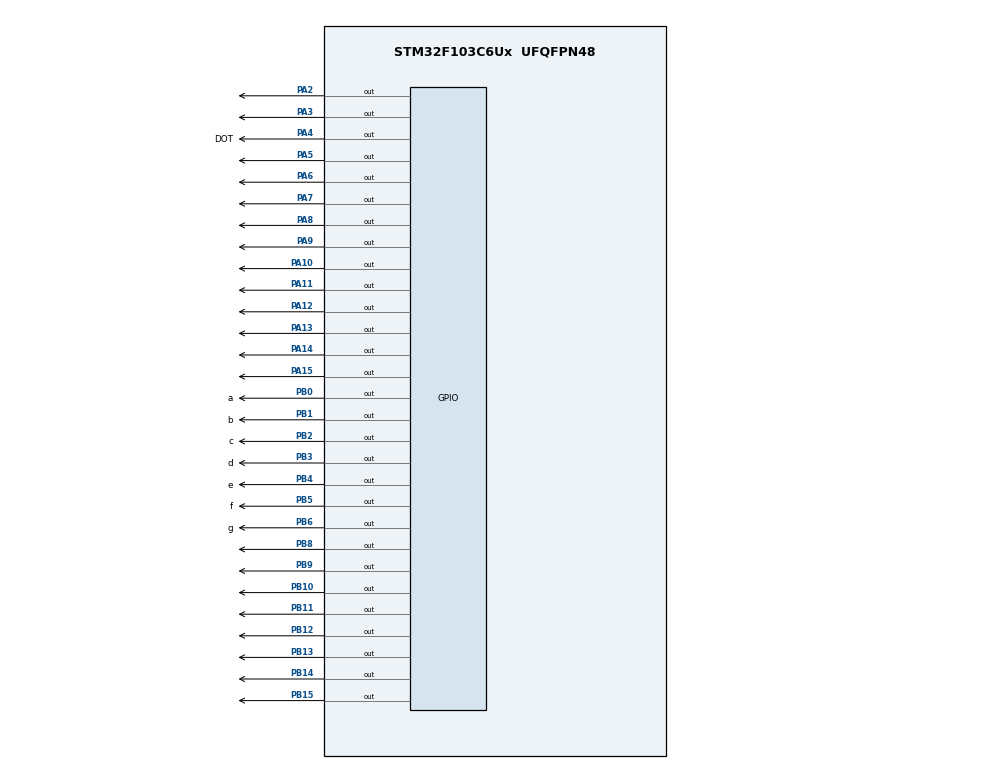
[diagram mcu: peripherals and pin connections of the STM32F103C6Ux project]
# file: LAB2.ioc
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Mcu.Family=STM32F1
Mcu.Name=STM32F103C6Ux
Mcu.Package=UFQFPN48
NVIC.PriorityGroup=NVIC_PRIORITYGROUP_4
NVIC.TIM2_IRQn=true\:0\:0\:false\:false\:true\:true\:true
PA10.Signal=GPIO_Output
PA11.Signal=GPIO_Output
PA12.Signal=GPIO_Output
PA13.Signal=GPIO_Output
PA14.Signal=GPIO_Output
PA15.Signal=GPIO_Output
PA2.Signal=GPIO_Output
PA3.Signal=GPIO_Output
PA4.GPIO_Label=DOT
PA4.Signal=GPIO_Output
PA5.Signal=GPIO_Output
PA6.Signal=GPIO_Output
PA7.Signal=GPIO_Output
PA8.Signal=GPIO_Output
PA9.Signal=GPIO_Output
PB0.GPIO_Label=a
PB0.Signal=GPIO_Output
PB1.GPIO_Label=b
PB1.Signal=GPIO_Output
PB10.Signal=GPIO_Output
PB11.Signal=GPIO_Output
PB12.Signal=GPIO_Output
PB13.Signal=GPIO_Output
PB14.Signal=GPIO_Output
PB15.Signal=GPIO_Output
PB2.GPIO_Label=c
PB2.Signal=GPIO_Output
PB3.GPIO_Label=d
PB3.Signal=GPIO_Output
PB4.GPIO_Label=e
PB4.Signal=GPIO_Output
PB5.GPIO_Label=f
PB5.Signal=GPIO_Output
PB6.GPIO_Label=g
PB6.Signal=GPIO_Output
PB8.Signal=GPIO_Output
PB9.Signal=GPIO_Output
ProjectManager.HeapSize=0x200
ProjectManager.StackSize=0x400
ProjectManager.TargetToolchain=STM32CubeIDE
RCC.APB1Freq_Value=8000000
RCC.APB2Freq_Value=8000000
TIM2.Period=9
TIM2.Prescaler=7999
VP_SYS_VS_ND.Mode=No_Debug
VP_TIM2_VS_ClockSourceINT.Mode=Internal
board=custom

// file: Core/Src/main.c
/* USER CODE BEGIN Header */
/**
  ******************************************************************************
  * @file           : main.c
  * @brief          : Main program body
  ******************************************************************************
  * @attention
  *
  * <h2><center>&copy; Copyright (c) 2023 STMicroelectronics.
  * All rights reserved.</center></h2>
  *
  * This software component is licensed by ST under BSD 3-Clause license,
  * the "License"; You may not use this file except in compliance with the
  * License. You may obtain a copy of the License at:
  *                        opensource.org/licenses/BSD-3-Clause
  *
  ******************************************************************************
  */
/* USER CODE END Header */
#include "main.h"

/* USER CODE BEGIN Includes */
#include "software_timer.h"
/* USER CODE END Includes */

TIM_HandleTypeDef htim2;

void SystemClock_Config(void);
static void MX_TIM2_Init(void);
static void MX_GPIO_Init(void);
/* USER CODE BEGIN PFP */
void display7SEG(int num){
	switch (num){
		case 0:
			HAL_GPIO_WritePin(GPIOB, a_Pin, 0);
			HAL_GPIO_WritePin(GPIOB, b_Pin, 0);
			HAL_GPIO_WritePin(GPIOB, c_Pin, 0);
			HAL_GPIO_WritePin(GPIOB, d_Pin, 0);
			HAL_GPIO_WritePin(GPIOB, e_Pin, 0);
			HAL_GPIO_WritePin(GPIOB, f_Pin, 0);
			HAL_GPIO_WritePin(GPIOB, g_Pin, 1);
			break;
		case 1:
			HAL_GPIO_WritePin(GPIOB, a_Pin, 1);
			HAL_GPIO_WritePin(GPIOB, b_Pin, 0);
			HAL_GPIO_WritePin(GPIOB, c_Pin, 0);
			HAL_GPIO_WritePin(GPIOB, d_Pin, 1);
			HAL_GPIO_WritePin(GPIOB, e_Pin, 1);
			HAL_GPIO_WritePin(GPIOB, f_Pin, 1);
			HAL_GPIO_WritePin(GPIOB, g_Pin, 1);
			break;
		case 2:
			HAL_GPIO_WritePin(GPIOB, a_Pin, 0);
			HAL_GPIO_WritePin(GPIOB, b_Pin, 0);
			HAL_GPIO_WritePin(GPIOB, c_Pin, 1);
			HAL_GPIO_WritePin(GPIOB, d_Pin, 0);
			HAL_GPIO_WritePin(GPIOB, e_Pin, 0);
			HAL_GPIO_WritePin(GPIOB, f_Pin, 1);
			HAL_GPIO_WritePin(GPIOB, g_Pin, 0);
			break;
		case 3:
			HAL_GPIO_WritePin(GPIOB, a_Pin, 0);
			HAL_GPIO_WritePin(GPIOB, b_Pin, 0);
			HAL_GPIO_WritePin(GPIOB, c_Pin, 0);
			HAL_GPIO_WritePin(GPIOB, d_Pin, 0);
			HAL_GPIO_WritePin(GPIOB, e_Pin, 1);
			HAL_GPIO_WritePin(GPIOB, f_Pin, 1);
			HAL_GPIO_WritePin(GPIOB, g_Pin, 0);
			break;
		case 4:
			HAL_GPIO_WritePin(GPIOB, a_Pin, 1);
			HAL_GPIO_WritePin(GPIOB, b_Pin, 0);
			HAL_GPIO_WritePin(GPIOB, c_Pin, 0);
			HAL_GPIO_WritePin(GPIOB, d_Pin, 1);
			HAL_GPIO_WritePin(GPIOB, e_Pin, 1);
			HAL_GPIO_WritePin(GPIOB, f_Pin, 0);
			HAL_GPIO_WritePin(GPIOB, g_Pin, 0);
			break;
		case 5:
			HAL_GPIO_WritePin(GPIOB, a_Pin, 0);
			HAL_GPIO_WritePin(GPIOB, b_Pin, 1);
			HAL_GPIO_WritePin(GPIOB, c_Pin, 0);
			HAL_GPIO_WritePin(GPIOB, d_Pin, 0);
			HAL_GPIO_WritePin(GPIOB, e_Pin, 1);
			HAL_GPIO_WritePin(GPIOB, f_Pin, 0);
			HAL_GPIO_WritePin(GPIOB, g_Pin, 0);
			break;
		case 6:
			HAL_GPIO_WritePin(GPIOB, a_Pin, 0);
			HAL_GPIO_WritePin(GPIOB, b_Pin, 1);
			HAL_GPIO_WritePin(GPIOB, c_Pin, 0);
			HAL_GPIO_WritePin(GPIOB, d_Pin, 0);
			HAL_GPIO_WritePin(GPIOB, e_Pin, 0);
			HAL_GPIO_WritePin(GPIOB, f_Pin, 0);
			HAL_GPIO_WritePin(GPIOB, g_Pin, 0);
			break;
		case 7:
			HAL_GPIO_WritePin(GPIOB, a_Pin, 0);
			HAL_GPIO_WritePin(GPIOB, b_Pin, 0);
			HAL_GPIO_WritePin(GPIOB, c_Pin, 0);
			HAL_GPIO_WritePin(GPIOB, d_Pin, 1);
			HAL_GPIO_WritePin(GPIOB, e_Pin, 1);
			HAL_GPIO_WritePin(GPIOB, f_Pin, 1);
			HAL_GPIO_WritePin(GPIOB, g_Pin, 1);
			break;
		case 8:
			HAL_GPIO_WritePin(GPIOB, a_Pin, 0);
			HAL_GPIO_WritePin(GPIOB, b_Pin, 0);
			HAL_GPIO_WritePin(GPIOB, c_Pin, 0);
			HAL_GPIO_WritePin(GPIOB, d_Pin, 0);
			HAL_GPIO_WritePin(GPIOB, e_Pin, 0);
			HAL_GPIO_WritePin(GPIOB, f_Pin, 0);
			HAL_GPIO_WritePin(GPIOB, g_Pin, 0);
			break;
		default:
			HAL_GPIO_WritePin(GPIOB, a_Pin, 0);
			HAL_GPIO_WritePin(GPIOB, b_Pin, 0);
			HAL_GPIO_WritePin(GPIOB, c_Pin, 0);
			HAL_GPIO_WritePin(GPIOB, d_Pin, 0);
			HAL_GPIO_WritePin(GPIOB, e_Pin, 1);
			HAL_GPIO_WritePin(GPIOB, f_Pin, 0);
			HAL_GPIO_WritePin(GPIOB, g_Pin, 0);
	}
}

const int MAX_LED_MATRIX = 8;
uint8_t matrix_buffer[8]={0xFF,0x01,0x00,0xEE,0xEE,0x00,0x01,0xFF};
void updateLEDMatrix (int index ){
	switch ( index ){
	case 0:
		HAL_GPIO_WritePin(GPIOB, GPIO_PIN_15 , 0);
        HAL_GPIO_WritePin(GPIOB, GPIO_PIN_8 , 1);
        HAL_GPIO_WritePin(GPIOA, GPIO_PIN_2, (matrix_buffer[0] & 0x01)? GPIO_PIN_RESET:GPIO_PIN_SET);
        HAL_GPIO_WritePin(GPIOA, GPIO_PIN_3, (matrix_buffer[0] & 0x02)? GPIO_PIN_RESET:GPIO_PIN_SET);
        HAL_GPIO_WritePin(GPIOA, GPIO_PIN_10, (matrix_buffer[0] & 0x04)? GPIO_PIN_RESET:GPIO_PIN_SET);
        HAL_GPIO_WritePin(GPIOA, GPIO_PIN_11, (matrix_buffer[0] & 0x08)? GPIO_PIN_RESET:GPIO_PIN_SET);
        HAL_GPIO_WritePin(GPIOA, GPIO_PIN_12, (matrix_buffer[0] & 0x10)? GPIO_PIN_RESET:GPIO_PIN_SET);
        HAL_GPIO_WritePin(GPIOA, GPIO_PIN_13, (matrix_buffer[0] & 0x20)? GPIO_PIN_RESET:GPIO_PIN_SET);
        HAL_GPIO_WritePin(GPIOA, GPIO_PIN_14, (matrix_buffer[0] & 0x40)? GPIO_PIN_RESET:GPIO_PIN_SET);
        HAL_GPIO_WritePin(GPIOA, GPIO_PIN_15, (matrix_buffer[0] & 0x80)? GPIO_PIN_RESET:GPIO_PIN_SET);
		break ;
	case 1:
		HAL_GPIO_WritePin(GPIOB, GPIO_PIN_8 , 0);
		HAL_GPIO_WritePin(GPIOB, GPIO_PIN_9 , 1);
        HAL_GPIO_WritePin(GPIOA, GPIO_PIN_2, (matrix_buffer[1] & 0x01)? GPIO_PIN_RESET:GPIO_PIN_SET);
        HAL_GPIO_WritePin(GPIOA, GPIO_PIN_3, (matrix_buffer[1] & 0x02)? GPIO_PIN_RESET:GPIO_PIN_SET);
        HAL_GPIO_WritePin(GPIOA, GPIO_PIN_10, (matrix_buffer[1] & 0x04)? GPIO_PIN_RESET:GPIO_PIN_SET);
        HAL_GPIO_WritePin(GPIOA, GPIO_PIN_11, (matrix_buffer[1] & 0x08)? GPIO_PIN_RESET:GPIO_PIN_SET);
        HAL_GPIO_WritePin(GPIOA, GPIO_PIN_12, (matrix_buffer[1] & 0x10)? GPIO_PIN_RESET:GPIO_PIN_SET);
        HAL_GPIO_WritePin(GPIOA, GPIO_PIN_13, (matrix_buffer[1] & 0x20)? GPIO_PIN_RESET:GPIO_PIN_SET);
        HAL_GPIO_WritePin(GPIOA, GPIO_PIN_14, (matrix_buffer[1] & 0x40)? GPIO_PIN_RESET:GPIO_PIN_SET);
        HAL_GPIO_WritePin(GPIOA, GPIO_PIN_15, (matrix_buffer[1] & 0x80)? GPIO_PIN_RESET:GPIO_PIN_SET);
		break ;
	case 2:
		HAL_GPIO_WritePin(GPIOB, GPIO_PIN_9 , 0);
		HAL_GPIO_WritePin(GPIOB, GPIO_PIN_10 , 1);
        HAL_GPIO_WritePin(GPIOA, GPIO_PIN_2, (matrix_buffer[2] & 0x01)? GPIO_PIN_RESET:GPIO_PIN_SET);
        HAL_GPIO_WritePin(GPIOA, GPIO_PIN_3, (matrix_buffer[2] & 0x02)? GPIO_PIN_RESET:GPIO_PIN_SET);
        HAL_GPIO_WritePin(GPIOA, GPIO_PIN_10, (matrix_buffer[2] & 0x04)? GPIO_PIN_RESET:GPIO_PIN_SET);
        HAL_GPIO_WritePin(GPIOA, GPIO_PIN_11, (matrix_buffer[2] & 0x08)? GPIO_PIN_RESET:GPIO_PIN_SET);
        HAL_GPIO_WritePin(GPIOA, GPIO_PIN_12, (matrix_buffer[2] & 0x10)? GPIO_PIN_RESET:GPIO_PIN_SET);
        HAL_GPIO_WritePin(GPIOA, GPIO_PIN_13, (matrix_buffer[2] & 0x20)? GPIO_PIN_RESET:GPIO_PIN_SET);
        HAL_GPIO_WritePin(GPIOA, GPIO_PIN_14, (matrix_buffer[2] & 0x40)? GPIO_PIN_RESET:GPIO_PIN_SET);
        HAL_GPIO_WritePin(GPIOA, GPIO_PIN_15, (matrix_buffer[2] & 0x80)? GPIO_PIN_RESET:GPIO_PIN_SET);
		break ;
	case 3:
		HAL_GPIO_WritePin(GPIOB, GPIO_PIN_10 , 0);
		HAL_GPIO_WritePin(GPIOB, GPIO_PIN_11 , 1);
        HAL_GPIO_WritePin(GPIOA, GPIO_PIN_2, (matrix_buffer[3] & 0x01)? GPIO_PIN_RESET:GPIO_PIN_SET);
        HAL_GPIO_WritePin(GPIOA, GPIO_PIN_3, (matrix_buffer[3] & 0x02)? GPIO_PIN_RESET:GPIO_PIN_SET);
        HAL_GPIO_WritePin(GPIOA, GPIO_PIN_10, (matrix_buffer[3] & 0x04)? GPIO_PIN_RESET:GPIO_PIN_SET);
        HAL_GPIO_WritePin(GPIOA, GPIO_PIN_11, (matrix_buffer[3] & 0x08)? GPIO_PIN_RESET:GPIO_PIN_SET);
        HAL_GPIO_WritePin(GPIOA, GPIO_PIN_12, (matrix_buffer[3] & 0x10)? GPIO_PIN_RESET:GPIO_PIN_SET);
        HAL_GPIO_WritePin(GPIOA, GPIO_PIN_13, (matrix_buffer[3] & 0x20)? GPIO_PIN_RESET:GPIO_PIN_SET);
        HAL_GPIO_WritePin(GPIOA, GPIO_PIN_14, (matrix_buffer[3] & 0x40)? GPIO_PIN_RESET:GPIO_PIN_SET);
        HAL_GPIO_WritePin(GPIOA, GPIO_PIN_15, (matrix_buffer[3] & 0x80)? GPIO_PIN_RESET:GPIO_PIN_SET);
		break ;
	case 4:
		HAL_GPIO_WritePin(GPIOB, GPIO_PIN_11 , 0);
		HAL_GPIO_WritePin(GPIOB, GPIO_PIN_12 , 1);
        HAL_GPIO_WritePin(GPIOA, GPIO_PIN_2, (matrix_buffer[4] & 0x01)? GPIO_PIN_RESET:GPIO_PIN_SET);
        HAL_GPIO_WritePin(GPIOA, GPIO_PIN_3, (matrix_buffer[4] & 0x02)? GPIO_PIN_RESET:GPIO_PIN_SET);
        HAL_GPIO_WritePin(GPIOA, GPIO_PIN_10, (matrix_buffer[4] & 0x04)? GPIO_PIN_RESET:GPIO_PIN_SET);
        HAL_GPIO_WritePin(GPIOA, GPIO_PIN_11, (matrix_buffer[4] & 0x08)? GPIO_PIN_RESET:GPIO_PIN_SET);
        HAL_GPIO_WritePin(GPIOA, GPIO_PIN_12, (matrix_buffer[4] & 0x10)? GPIO_PIN_RESET:GPIO_PIN_SET);
        HAL_GPIO_WritePin(GPIOA, GPIO_PIN_13, (matrix_buffer[4] & 0x20)? GPIO_PIN_RESET:GPIO_PIN_SET);
        HAL_GPIO_WritePin(GPIOA, GPIO_PIN_14, (matrix_buffer[4] & 0x40)? GPIO_PIN_RESET:GPIO_PIN_SET);
        HAL_GPIO_WritePin(GPIOA, GPIO_PIN_15, (matrix_buffer[4] & 0x80)? GPIO_PIN_RESET:GPIO_PIN_SET);
		break ;
	case 5:
		HAL_GPIO_WritePin(GPIOB, GPIO_PIN_12 , 0);
		HAL_GPIO_WritePin(GPIOB, GPIO_PIN_13 , 1);
        HAL_GPIO_WritePin(GPIOA, GPIO_PIN_2, (matrix_buffer[5] & 0x01)? GPIO_PIN_RESET:GPIO_PIN_SET);
        HAL_GPIO_WritePin(GPIOA, GPIO_PIN_3, (matrix_buffer[5] & 0x02)? GPIO_PIN_RESET:GPIO_PIN_SET);
        HAL_GPIO_WritePin(GPIOA, GPIO_PIN_10, (matrix_buffer[5] & 0x04)? GPIO_PIN_RESET:GPIO_PIN_SET);
        HAL_GPIO_WritePin(GPIOA, GPIO_PIN_11, (matrix_buffer[5] & 0x08)? GPIO_PIN_RESET:GPIO_PIN_SET);
        HAL_GPIO_WritePin(GPIOA, GPIO_PIN_12, (matrix_buffer[5] & 0x10)? GPIO_PIN_RESET:GPIO_PIN_SET);
        HAL_GPIO_WritePin(GPIOA, GPIO_PIN_13, (matrix_buffer[5] & 0x20)? GPIO_PIN_RESET:GPIO_PIN_SET);
        HAL_GPIO_WritePin(GPIOA, GPIO_PIN_14, (matrix_buffer[5] & 0x40)? GPIO_PIN_RESET:GPIO_PIN_SET);
        HAL_GPIO_WritePin(GPIOA, GPIO_PIN_15, (matrix_buffer[5] & 0x80)? GPIO_PIN_RESET:GPIO_PIN_SET);
		break ;
	case 6:
		HAL_GPIO_WritePin(GPIOB, GPIO_PIN_13 , 0);
		HAL_GPIO_WritePin(GPIOB, GPIO_PIN_14 , 1);
        HAL_GPIO_WritePin(GPIOA, GPIO_PIN_2, (matrix_buffer[6] & 0x01)? GPIO_PIN_RESET:GPIO_PIN_SET);
        HAL_GPIO_WritePin(GPIOA, GPIO_PIN_3, (matrix_buffer[6] & 0x02)? GPIO_PIN_RESET:GPIO_PIN_SET);
        HAL_GPIO_WritePin(GPIOA, GPIO_PIN_10, (matrix_buffer[6] & 0x04)? GPIO_PIN_RESET:GPIO_PIN_SET);
        HAL_GPIO_WritePin(GPIOA, GPIO_PIN_11, (matrix_buffer[6] & 0x08)? GPIO_PIN_RESET:GPIO_PIN_SET);
        HAL_GPIO_WritePin(GPIOA, GPIO_PIN_12, (matrix_buffer[6] & 0x10)? GPIO_PIN_RESET:GPIO_PIN_SET);
        HAL_GPIO_WritePin(GPIOA, GPIO_PIN_13, (matrix_buffer[6] & 0x20)? GPIO_PIN_RESET:GPIO_PIN_SET);
        HAL_GPIO_WritePin(GPIOA, GPIO_PIN_14, (matrix_buffer[6] & 0x40)? GPIO_PIN_RESET:GPIO_PIN_SET);
        HAL_GPIO_WritePin(GPIOA, GPIO_PIN_15, (matrix_buffer[6] & 0x80)? GPIO_PIN_RESET:GPIO_PIN_SET);
		break ;
	case 7:
		HAL_GPIO_WritePin(GPIOB, GPIO_PIN_14 , 0);
		HAL_GPIO_WritePin(GPIOB, GPIO_PIN_15 , 1);
        HAL_GPIO_WritePin(GPIOA, GPIO_PIN_2, (matrix_buffer[7] & 0x01)? GPIO_PIN_RESET:GPIO_PIN_SET);
        HAL_GPIO_WritePin(GPIOA, GPIO_PIN_3, (matrix_buffer[7] & 0x02)? GPIO_PIN_RESET:GPIO_PIN_SET);
        HAL_GPIO_WritePin(GPIOA, GPIO_PIN_10, (matrix_buffer[7] & 0x04)? GPIO_PIN_RESET:GPIO_PIN_SET);
        HAL_GPIO_WritePin(GPIOA, GPIO_PIN_11, (matrix_buffer[7] & 0x08)? GPIO_PIN_RESET:GPIO_PIN_SET);
        HAL_GPIO_WritePin(GPIOA, GPIO_PIN_12, (matrix_buffer[7] & 0x10)? GPIO_PIN_RESET:GPIO_PIN_SET);
        HAL_GPIO_WritePin(GPIOA, GPIO_PIN_13, (matrix_buffer[7] & 0x20)? GPIO_PIN_RESET:GPIO_PIN_SET);
        HAL_GPIO_WritePin(GPIOA, GPIO_PIN_14, (matrix_buffer[7] & 0x40)? GPIO_PIN_RESET:GPIO_PIN_SET);
        HAL_GPIO_WritePin(GPIOA, GPIO_PIN_15, (matrix_buffer[7] & 0x80)? GPIO_PIN_RESET:GPIO_PIN_SET);
		break ;
	default :
		break ;
	}
}
int led_buffer [4] = {1, 2, 5, 4};
void update7SEG ( int index ){
	switch ( index ){
	case 0:
	// Display the first 7 SEG with led_buffer [0]
		  HAL_GPIO_WritePin(GPIOA, GPIO_PIN_6, 0);
		  HAL_GPIO_WritePin(GPIOA, GPIO_PIN_7, 1);
		  HAL_GPIO_WritePin(GPIOA, GPIO_PIN_8, 1);
		  HAL_GPIO_WritePin(GPIOA, GPIO_PIN_9, 1);
		  display7SEG(led_buffer[0]);
		  break ;
	case 1:
	// Display the second 7 SEG with led_buffer [1]
		  HAL_GPIO_WritePin(GPIOA, GPIO_PIN_6, 1);
		  HAL_GPIO_WritePin(GPIOA, GPIO_PIN_7, 0);
		  HAL_GPIO_WritePin(GPIOA, GPIO_PIN_8, 1);
		  HAL_GPIO_WritePin(GPIOA, GPIO_PIN_9, 1);
		  display7SEG(led_buffer[1]);
		break ;
	case 2:
	// Display the third 7 SEG with led_buffer [2]
		  HAL_GPIO_WritePin(GPIOA, GPIO_PIN_6, 1);
		  HAL_GPIO_WritePin(GPIOA, GPIO_PIN_7, 1);
		  HAL_GPIO_WritePin(GPIOA, GPIO_PIN_8, 0);
		  HAL_GPIO_WritePin(GPIOA, GPIO_PIN_9, 1);
		  display7SEG(led_buffer[2]);
		  break ;
	case 3:
	// Display the forth 7 SEG with led_buffer [3]
		  HAL_GPIO_WritePin(GPIOA, GPIO_PIN_6, 1);
		  HAL_GPIO_WritePin(GPIOA, GPIO_PIN_7, 1);
		  HAL_GPIO_WritePin(GPIOA, GPIO_PIN_8, 1);
		  HAL_GPIO_WritePin(GPIOA, GPIO_PIN_9, 0);
		  display7SEG(led_buffer[3]);
		  break ;
	default :
		break ;
	}
}
void shift_array(uint8_t matrix_buffer[8]){
	uint8_t temp=matrix_buffer[0];
	matrix_buffer[0]=matrix_buffer[1];
	matrix_buffer[1]=matrix_buffer[2];
	matrix_buffer[2]=matrix_buffer[3];
	matrix_buffer[3]=matrix_buffer[4];
	matrix_buffer[4]=matrix_buffer[5];
	matrix_buffer[5]=matrix_buffer[6];
	matrix_buffer[6]=matrix_buffer[7];
	matrix_buffer[07]=temp;
}
int hour,minute,second;
void updateClockBuffer(){
	led_buffer[0]=(hour/10)%10;
	led_buffer[1]=hour%10;
	led_buffer[2]=(minute/10)%10;
	led_buffer[3]=minute%10;
}

/* USER CODE END PFP */

int main(void)
{

  /* MCU Configuration--------------------------------------------------------*/

  /* Reset of all peripherals, Initializes the Flash interface and the Systick. */
  HAL_Init();

  /* Configure the system clock */
  SystemClock_Config();

  /* Initialize all configured peripherals */
  MX_TIM2_Init();
  MX_GPIO_Init();
  HAL_TIM_Base_Start_IT(&htim2);
  setTimer0(100);
  setTimer1(39);
  setTimer2(1);
  setTimer3(57);
  hour=12;
  minute=54;
  second=56;
  int index_matrix=0;
  int index_7SEG=0;

  /* Infinite loop */
  while (1)
  {
	  if(timer0_flag==1){
		  second ++;
		  if ( second >= 60) {
			  second = 0;
			  minute ++;
		  }
		  if ( minute >= 60) {
			  minute = 0;
			  hour ++;
		  }
		  if ( hour >=24) {
			  hour = 0;
		  }
		  updateClockBuffer () ;
		  setTimer0(100);
	  }
	  if(timer1_flag==1){
		  update7SEG(index_7SEG);
		  index_7SEG++;
		  if(index_7SEG>=4){
			  index_7SEG=0;
		  }
		  setTimer1(39);
	  }
	  if(timer2_flag==1){
		  updateLEDMatrix(index_matrix);
		  index_matrix++;
		  if(index_matrix>=8){
			  shift_array(matrix_buffer);
			  index_matrix=0;
		  }
		  setTimer2(1);
	  }
	  if(timer3_flag==1){
		  HAL_GPIO_TogglePin(GPIOA, DOT_Pin);
		  HAL_GPIO_TogglePin(GPIOA, GPIO_PIN_5);
		  setTimer3(57);
	  }
  }
}

void SystemClock_Config(void)
{
  RCC_OscInitTypeDef RCC_OscInitStruct = {0};
  RCC_ClkInitTypeDef RCC_ClkInitStruct = {0};

  /** Initializes the RCC Oscillators according to the specified parameters
  * in the RCC_OscInitTypeDef structure.
  */
  RCC_OscInitStruct.OscillatorType = RCC_OSCILLATORTYPE_HSI;
  RCC_OscInitStruct.HSIState = RCC_HSI_ON;
  RCC_OscInitStruct.HSICalibrationValue = RCC_HSICALIBRATION_DEFAULT;
  RCC_OscInitStruct.PLL.PLLState = RCC_PLL_NONE;
  if (HAL_RCC_OscConfig(&RCC_OscInitStruct) != HAL_OK)
  {
    Error_Handler();
  }
  /** Initializes the CPU, AHB and APB buses clocks
  */
  RCC_ClkInitStruct.ClockType = RCC_CLOCKTYPE_HCLK|RCC_CLOCKTYPE_SYSCLK
                              |RCC_CLOCKTYPE_PCLK1|RCC_CLOCKTYPE_PCLK2;
  RCC_ClkInitStruct.SYSCLKSource = RCC_SYSCLKSOURCE_HSI;
  RCC_ClkInitStruct.AHBCLKDivider = RCC_SYSCLK_DIV1;
  RCC_ClkInitStruct.APB1CLKDivider = RCC_HCLK_DIV1;
  RCC_ClkInitStruct.APB2CLKDivider = RCC_HCLK_DIV1;

  if (HAL_RCC_ClockConfig(&RCC_ClkInitStruct, FLASH_LATENCY_0) != HAL_OK)
  {
    Error_Handler();
  }
}

static void MX_TIM2_Init(void)
{

  TIM_ClockConfigTypeDef sClockSourceConfig = {0};
  TIM_MasterConfigTypeDef sMasterConfig = {0};

  htim2.Instance = TIM2;
  htim2.Init.Prescaler = 7999;
  htim2.Init.CounterMode = TIM_COUNTERMODE_UP;
  htim2.Init.Period = 9;
  htim2.Init.ClockDivision = TIM_CLOCKDIVISION_DIV1;
  htim2.Init.AutoReloadPreload = TIM_AUTORELOAD_PRELOAD_DISABLE;
  if (HAL_TIM_Base_Init(&htim2) != HAL_OK)
  {
    Error_Handler();
  }
  sClockSourceConfig.ClockSource = TIM_CLOCKSOURCE_INTERNAL;
  if (HAL_TIM_ConfigClockSource(&htim2, &sClockSourceConfig) != HAL_OK)
  {
    Error_Handler();
  }
  sMasterConfig.MasterOutputTrigger = TIM_TRGO_RESET;
  sMasterConfig.MasterSlaveMode = TIM_MASTERSLAVEMODE_DISABLE;
  if (HAL_TIMEx_MasterConfigSynchronization(&htim2, &sMasterConfig) != HAL_OK)
  {
    Error_Handler();
  }

}

static void MX_GPIO_Init(void)
{
  GPIO_InitTypeDef GPIO_InitStruct = {0};

  /* GPIO Ports Clock Enable */
  __HAL_RCC_GPIOA_CLK_ENABLE();
  __HAL_RCC_GPIOB_CLK_ENABLE();

  /*Configure GPIO pin Output Level */
  HAL_GPIO_WritePin(GPIOA, GPIO_PIN_2|GPIO_PIN_3|DOT_Pin|GPIO_PIN_5
                          |GPIO_PIN_6|GPIO_PIN_7|GPIO_PIN_8|GPIO_PIN_9
                          |GPIO_PIN_10|GPIO_PIN_11|GPIO_PIN_12|GPIO_PIN_13
                          |GPIO_PIN_14|GPIO_PIN_15, GPIO_PIN_RESET);

  /*Configure GPIO pin Output Level */
  HAL_GPIO_WritePin(GPIOB, a_Pin|b_Pin|c_Pin|GPIO_PIN_10
                          |GPIO_PIN_11|GPIO_PIN_12|GPIO_PIN_13|GPIO_PIN_14
                          |GPIO_PIN_15|d_Pin|e_Pin|f_Pin
                          |g_Pin|GPIO_PIN_8|GPIO_PIN_9, GPIO_PIN_RESET);

  /*Configure GPIO pins : PA2 PA3 DOT_Pin PA5
                           PA6 PA7 PA8 PA9
                           PA10 PA11 PA12 PA13
                           PA14 PA15 */
  GPIO_InitStruct.Pin = GPIO_PIN_2|GPIO_PIN_3|DOT_Pin|GPIO_PIN_5
                          |GPIO_PIN_6|GPIO_PIN_7|GPIO_PIN_8|GPIO_PIN_9
                          |GPIO_PIN_10|GPIO_PIN_11|GPIO_PIN_12|GPIO_PIN_13
                          |GPIO_PIN_14|GPIO_PIN_15;
  GPIO_InitStruct.Mode = GPIO_MODE_OUTPUT_PP;
  GPIO_InitStruct.Pull = GPIO_NOPULL;
  GPIO_InitStruct.Speed = GPIO_SPEED_FREQ_LOW;
  HAL_GPIO_Init(GPIOA, &GPIO_InitStruct);

  /*Configure GPIO pins : a_Pin b_Pin c_Pin PB10
                           PB11 PB12 PB13 PB14
                           PB15 d_Pin e_Pin f_Pin
                           g_Pin PB8 PB9 */
  GPIO_InitStruct.Pin = a_Pin|b_Pin|c_Pin|GPIO_PIN_10
                          |GPIO_PIN_11|GPIO_PIN_12|GPIO_PIN_13|GPIO_PIN_14
                          |GPIO_PIN_15|d_Pin|e_Pin|f_Pin
                          |g_Pin|GPIO_PIN_8|GPIO_PIN_9;
  GPIO_InitStruct.Mode = GPIO_MODE_OUTPUT_PP;
  GPIO_InitStruct.Pull = GPIO_NOPULL;
  GPIO_InitStruct.Speed = GPIO_SPEED_FREQ_LOW;
  HAL_GPIO_Init(GPIOB, &GPIO_InitStruct);

}

/* USER CODE BEGIN 4 */
void HAL_TIM_PeriodElapsedCallback ( TIM_HandleTypeDef * htim ){
	timerRun();
}
/* USER CODE END 4 */

void Error_Handler(void)
{
  __disable_irq();
  while (1)
  {
  }
}

/************************ (C) COPYRIGHT STMicroelectronics *****END OF FILE****/
